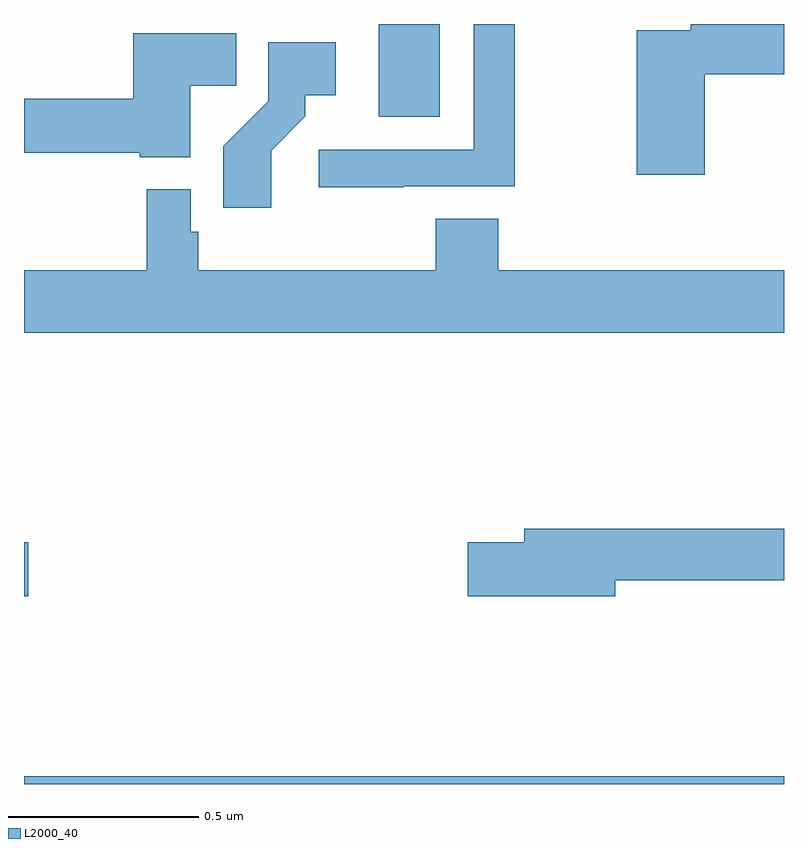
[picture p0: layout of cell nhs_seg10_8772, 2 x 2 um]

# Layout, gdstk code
import gdstk
lib = gdstk.Library(unit=1e-6, precision=1e-09)
def R(c, l, rs):  # rectangles x0, y0, x1, y1
    for r in rs: c.add(gdstk.rectangle(r[:2], r[2:], *l))
def P(c, l, *ps):  # polygons
    for p in ps: c.add(gdstk.Polygon(p, *l))
L2000_40 = (2000, 40)

nhs_seg10_8772 = lib.new_cell('nhs_seg10_8772')
R(nhs_seg10_8772, L2000_40, [(221,1260.5,223,1260.52), (221,1260.994,221.011,1261.136), (221.933,1262.256,222.094,1262.5)])
P(nhs_seg10_8772, L2000_40, [(222.791,1262.368),(223,1262.368),(223,1262.5),(222.754,1262.5),(222.754,1262.484),(222.613,1262.484),(222.613,1262.103),(222.791,1262.103)],
  [(221.999,1262.073),(222.292,1262.073),(222.292,1262.5),(222.183,1262.5),(222.183,1262.169),(221.775,1262.169),(221.775,1262.071),(221.999,1262.071)],
  [(221.437,1262.338),(221.558,1262.338),(221.558,1262.476),(221.288,1262.476),(221.288,1262.303),(221,1262.303),(221,1262.161),(221.304,1262.161),(221.304,1262.15),(221.437,1262.15)],
  [(221.65,1262.167),(221.74,1262.257),(221.74,1262.312),(221.821,1262.312),(221.821,1262.452),(221.643,1262.452),(221.643,1262.297),(221.524,1262.178),(221.524,1262.016),(221.65,1262.016)],
  [(223,1261.852),(222.248,1261.852),(222.248,1261.988),(222.083,1261.988),(222.083,1261.852),(221.459,1261.852),(221.459,1261.953),(221.439,1261.953),(221.439,1262.065),(221.323,1262.065),(221.323,1261.852),(221,1261.852),(221,1261.688),(223,1261.688)],
  [(222.556,1261.036),(223,1261.036),(223,1261.172),(222.317,1261.172),(222.317,1261.136),(222.168,1261.136),(222.168,1260.994),(222.556,1260.994)])

lib.write_gds('nhs_seg10_8772.gds')
